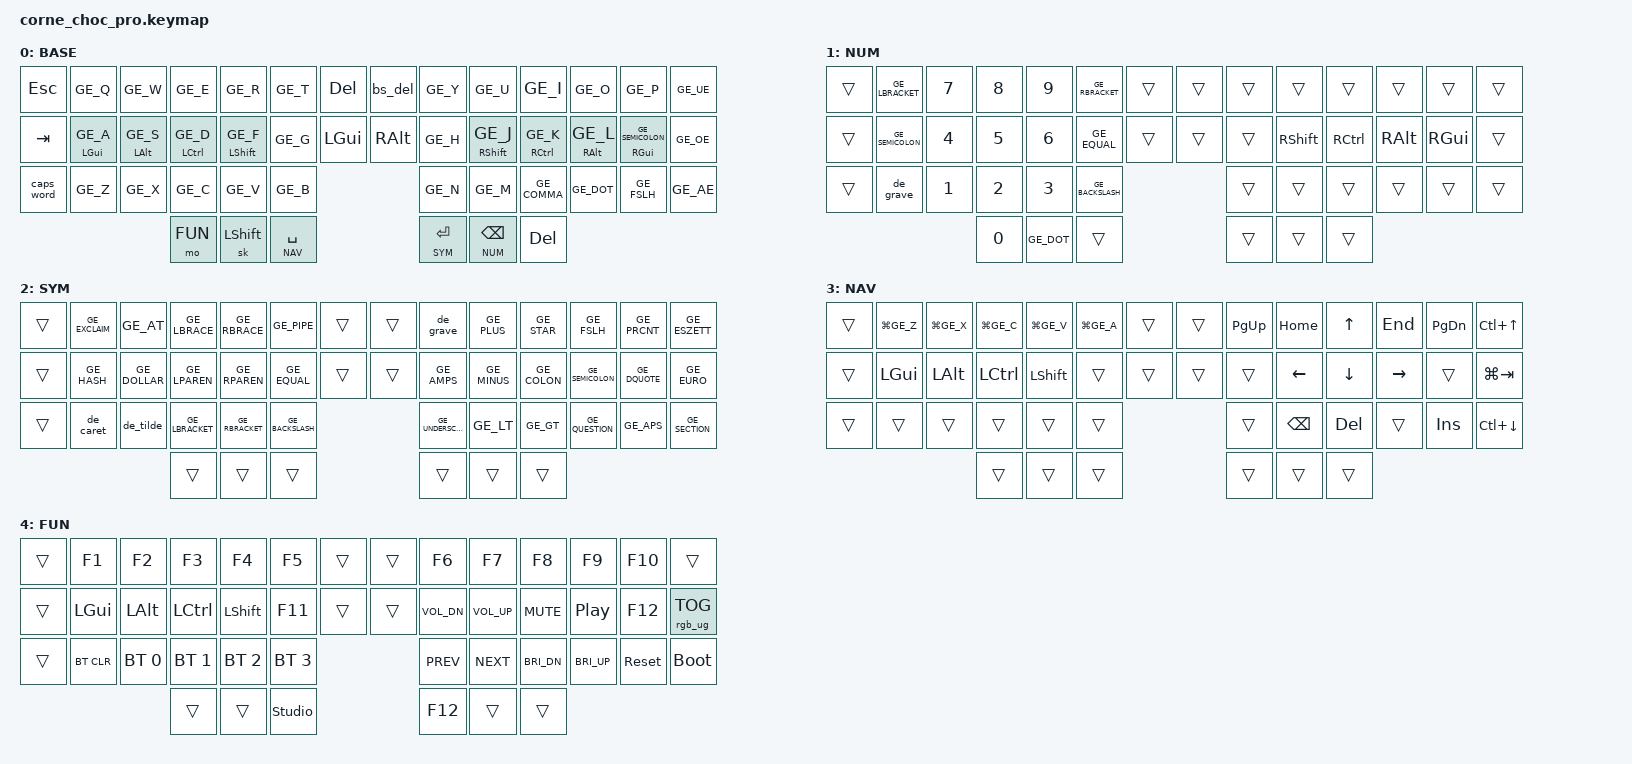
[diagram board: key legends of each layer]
/*
 * Corne Choc Pro — German-on-macOS layout (migrated from the Defiant).
 *
 * OS layout: macOS set to German. Alphas are QWERTY (Y top, Z bottom).
 * Modifiers are mac: GUI = Command (⌘), ALT = Option (⌥), CTRL = Control (⌃).
 *
 * Layers:  0 DEF · 1 NUM · 2 SYM · 3 NAV · 4 FUN
 * Thumbs:  NAV = hold L-Space · SYM = hold R-Enter · NUM = hold R-Bksp · FUN = hold L-mid
 */

#include <behaviors.dtsi>
#include <dt-bindings/zmk/keys.h>
#include <dt-bindings/zmk/bt.h>
#include <dt-bindings/zmk/rgb.h>
#include "german_mac.h"

#define DEF 0
#define NUM 1
#define SYM 2
#define NAV 3
#define FUN 4

/* Key positions for positional home-row mods (see layout grid below). */
#define KEYS_L 0 1 2 3 4 5 6 14 15 16 17 18 19 20 28 29 30 31 32 33
#define KEYS_R 7 8 9 10 11 12 13 21 22 23 24 25 26 27 34 35 36 37 38 39
#define THUMBS 40 41 42 43 44 45

/*
 *  0   1   2   3   4   5   6   │   7   8   9  10  11  12  13
 * 14  15  16  17  18  19  20   │  21  22  23  24  25  26  27
 * 28  29  30  31  32  33       │      34  35  36  37  38  39
 *             40  41  42       │      43  44  45
 */

/ {
    chosen {
        zmk,physical-layout = &default_layout;
    };

    behaviors {
        /* Modern "timeless" positional home-row mods. */
        hml: home_row_mod_left {
            compatible = "zmk,behavior-hold-tap";
            #binding-cells = <2>;
            flavor = "balanced";
            tapping-term-ms = <350>;
            quick-tap-ms = <175>;
            require-prior-idle-ms = <200>;
            bindings = <&kp>, <&kp>;
            hold-trigger-key-positions = <KEYS_R THUMBS>;
            hold-trigger-on-release;
        };
        hmr: home_row_mod_right {
            compatible = "zmk,behavior-hold-tap";
            #binding-cells = <2>;
            flavor = "balanced";
            tapping-term-ms = <350>;
            quick-tap-ms = <175>;
            require-prior-idle-ms = <200>;
            bindings = <&kp>, <&kp>;
            hold-trigger-key-positions = <KEYS_L THUMBS>;
            hold-trigger-on-release;
        };

        /* Backspace; Shift+Backspace = Delete. */
        bs_del: backspace_delete {
            compatible = "zmk,behavior-mod-morph";
            #binding-cells = <0>;
            bindings = <&kp BSPC>, <&kp DEL>;
            mods = <(MOD_LSFT|MOD_RSFT)>;
        };
    };

    macros {
        /* Dead-key symbols on German-macOS: accent + SPACE = bare character. */
        de_caret: de_caret {            // ^
            compatible = "zmk,behavior-macro";
            #binding-cells = <0>;
            bindings = <&kp GRAVE &kp SPACE>;
        };
        de_grave: de_grave {            // `
            compatible = "zmk,behavior-macro";
            #binding-cells = <0>;
            bindings = <&kp LS(EQUAL) &kp SPACE>;
        };
        de_tilde: de_tilde {            // ~
            compatible = "zmk,behavior-macro";
            #binding-cells = <0>;
            bindings = <&kp RA(N) &kp SPACE>;
        };

        /* Programming digraphs (combo-triggered). */
        de_fatarrow: de_fatarrow {      // =>
            compatible = "zmk,behavior-macro";
            #binding-cells = <0>;
            bindings = <&kp GE_EQUAL &kp GE_GT>;
        };
        de_arrow: de_arrow {            // ->
            compatible = "zmk,behavior-macro";
            #binding-cells = <0>;
            bindings = <&kp GE_MINUS &kp GE_GT>;
        };
        de_coloncolon: de_coloncolon {  // ::
            compatible = "zmk,behavior-macro";
            #binding-cells = <0>;
            bindings = <&kp GE_COLON &kp GE_COLON>;
        };
    };

    combos {
        compatible = "zmk,combos";

        combo_capsword {
            timeout-ms = <40>;
            key-positions = <2 3>;          // W + E
            bindings = <&caps_word>;
            layers = <DEF>;
        };
        combo_fatarrow {
            timeout-ms = <40>;
            key-positions = <23 24>;        // J + K
            require-prior-idle-ms = <100>;
            bindings = <&de_fatarrow>;
            layers = <DEF SYM>;             // not on NAV (J/K are arrows there)
        };
        combo_arrow {
            timeout-ms = <40>;
            key-positions = <24 25>;        // K + L
            require-prior-idle-ms = <100>;
            bindings = <&de_arrow>;
            layers = <DEF SYM>;
        };
        combo_coloncolon {
            timeout-ms = <40>;
            key-positions = <25 26>;        // L + ;
            require-prior-idle-ms = <100>;
            bindings = <&de_coloncolon>;
            layers = <DEF SYM>;
        };
        combo_boot {
            timeout-ms = <50>;
            key-positions = <0 28 13>;      // far corners (ESC + CapsWord + ü)
            bindings = <&bootloader>;
        };
    };

    keymap {
        compatible = "zmk,keymap";

        default_layer {
            display-name = "BASE";
            // ESC  Q   W   E   R   T  DEL │ BSP  Y   U   I   O   P   ü
            // TAB  A⌘  S⌥  D⌃  F⇧  G  ⌘   │ ⌥    H   J⇧  K⌃  L⌥  ;⌘  ö
            // CAPW Z   X   C   V   B       │      N   M   ,   .   /   ä
            //              FUN ⇧   SPC/NAV │ ENT/SYM BSP/NUM DEL
            bindings = <
&kp ESC    &kp GE_Q       &kp GE_W       &kp GE_E        &kp GE_R &kp GE_T  &kp DEL      &bs_del   &kp GE_Y &kp GE_U       &kp GE_I       &kp GE_O       &kp GE_P              &kp GE_UE
&kp TAB    &hml LGUI GE_A &hml LALT GE_S &hml LCTRL GE_D &hml LSHFT GE_F &kp GE_G  &kp LGUI &kp RALT  &kp GE_H &hmr RSHFT GE_J &hmr RCTRL GE_K &hmr RALT GE_L &hmr RGUI GE_SEMICOLON &kp GE_OE
&caps_word &kp GE_Z       &kp GE_X       &kp GE_C        &kp GE_V &kp GE_B                            &kp GE_N &kp GE_M       &kp GE_COMMA   &kp GE_DOT     &kp GE_FSLH           &kp GE_AE
                                         &mo FUN         &sk LSHFT  &lt NAV SPACE             &lt SYM RET &lt NUM BSPC &kp DEL
            >;
        };

        num_layer {
            display-name = "NUM";
            // ─   [   7   8   9   ]   ─ │ ─   ─   ─   ─   ─   ─   ─
            // ─   ;   4   5   6   =   ─ │ ─   ─   ⇧   ⌃   ⌥   ⌘   ─
            // ─   `   1   2   3   \   ─ │ ─   ─   ─   ─   ─   ─   ─
            //              0   .   ─   │ ─   ─   ─
            bindings = <
&trans &kp GE_LBRACKET &kp N7 &kp N8 &kp N9 &kp GE_RBRACKET &trans   &trans &trans &trans   &trans   &trans   &trans   &trans
&trans &kp GE_SEMICOLON &kp N4 &kp N5 &kp N6 &kp GE_EQUAL    &trans   &trans &trans &kp RSHFT &kp RCTRL &kp RALT &kp RGUI &trans
&trans &de_grave        &kp N1 &kp N2 &kp N3 &kp GE_BACKSLASH                  &trans &trans &trans   &trans   &trans   &trans
                                      &kp N0 &kp GE_DOT &trans                 &trans &trans &trans
            >;
        };

        sym_layer {
            display-name = "SYM";
            // ─   !   @   {   }   |   ─ │ ─   `   +   *   /   %   ─
            // ─   #   $   (   )   =   ─ │ ─   &   -   :   ;   "   ─
            // ─   ^   ~   [   ]   \   ─ │ ─   _   <   >   ?   '   ─
            bindings = <
&trans &kp GE_EXCLAIM &kp GE_AT     &kp GE_LBRACE   &kp GE_RBRACE   &kp GE_PIPE      &trans   &trans &de_grave    &kp GE_PLUS  &kp GE_STAR &kp GE_FSLH     &kp GE_PRCNT &kp GE_ESZETT
&trans &kp GE_HASH    &kp GE_DOLLAR &kp GE_LPAREN   &kp GE_RPAREN   &kp GE_EQUAL     &trans   &trans &kp GE_AMPS  &kp GE_MINUS &kp GE_COLON &kp GE_SEMICOLON &kp GE_DQUOTE &kp GE_EURO
&trans &de_caret      &de_tilde     &kp GE_LBRACKET &kp GE_RBRACKET &kp GE_BACKSLASH                  &kp GE_UNDERSCORE &kp GE_LT &kp GE_GT &kp GE_QUESTION &kp GE_APS   &kp GE_SECTION
                                    &trans          &trans          &trans                          &trans &trans &trans
            >;
        };

        nav_layer {
            display-name = "NAV";
            // ─   ⌘Z  ⌘X  ⌘C  ⌘V  ⌘A  ─ │ ─  PgUp Home  ↑   End  PgDn ⌃↑(MissionCtrl)
            // ─   ⌘   ⌥   ⌃   ⇧   ─   ─ │ ─  ─    ←     ↓   →    ─    ⌘⇥(AppSwitch)
            // ─   ─   ─   ─   ─   ─     │    ─    ⌫     ⌦   ─    Ins  ⌃↓(AppExpose)
            bindings = <
&trans &kp LG(GE_Z) &kp LG(GE_X) &kp LG(GE_C) &kp LG(GE_V) &kp LG(GE_A) &trans   &trans &kp PG_UP &kp HOME &kp UP   &kp END   &kp PG_DN &kp LC(UP)
&trans &kp LGUI     &kp LALT     &kp LCTRL    &kp LSHFT    &trans       &trans   &trans &trans    &kp LEFT &kp DOWN &kp RIGHT &trans    &kp LG(TAB)
&trans &trans       &trans       &trans       &trans       &trans                       &trans    &kp BSPC &kp DEL  &trans    &kp INS   &kp LC(DOWN)
                                 &trans       &trans       &trans                       &trans &trans &trans
            >;
        };

        fun_layer {
            display-name = "FUN";
            // ─   F1  F2  F3  F4  F5  ─ │ ─   F6   F7   F8   F9   F10  ─
            // ─   ⌘   ⌥   ⌃   ⇧   F11 ─ │ ─   Vol- Vol+ Mute ⏯    F12  RGB
            // ─   BTc BT1 BT2 BT3 BT4   │     ⏮    ⏭    🔅   🔆   RST  BOOT
            //              ─   ─   STUD │ F12 ─    ─
            bindings = <
&trans &kp F1     &kp F2       &kp F3       &kp F4       &kp F5       &trans   &trans &kp F6      &kp F7      &kp F8      &kp F9      &kp F10    &trans
&trans &kp LGUI   &kp LALT     &kp LCTRL    &kp LSHFT    &kp F11      &trans   &trans &kp C_VOL_DN &kp C_VOL_UP &kp C_MUTE &kp C_PP   &kp F12    &rgb_ug RGB_TOG
&trans &bt BT_CLR &bt BT_SEL 0 &bt BT_SEL 1 &bt BT_SEL 2 &bt BT_SEL 3                  &kp C_PREV &kp C_NEXT  &kp C_BRI_DN &kp C_BRI_UP &sys_reset &bootloader
                               &trans       &trans       &studio_unlock              &kp F12 &trans &trans
            >;
        };
    };
};

/* CapsWord stays active through these (e.g. SCREAMING_SNAKE_CASE on German). */
&caps_word {
    continue-list = <UNDERSCORE MINUS BACKSPACE DELETE SLASH>;
};

/* Layer thumbs (&lt Space/Enter/Bksp): give the hold a generous window while
 * learning, so a lingering tap doesn't flip layers. Dial back later.
 * (Default &lt is tap-preferred / 200ms.) */
&lt {
    tapping-term-ms = <300>;
    quick-tap-ms = <200>;
};
